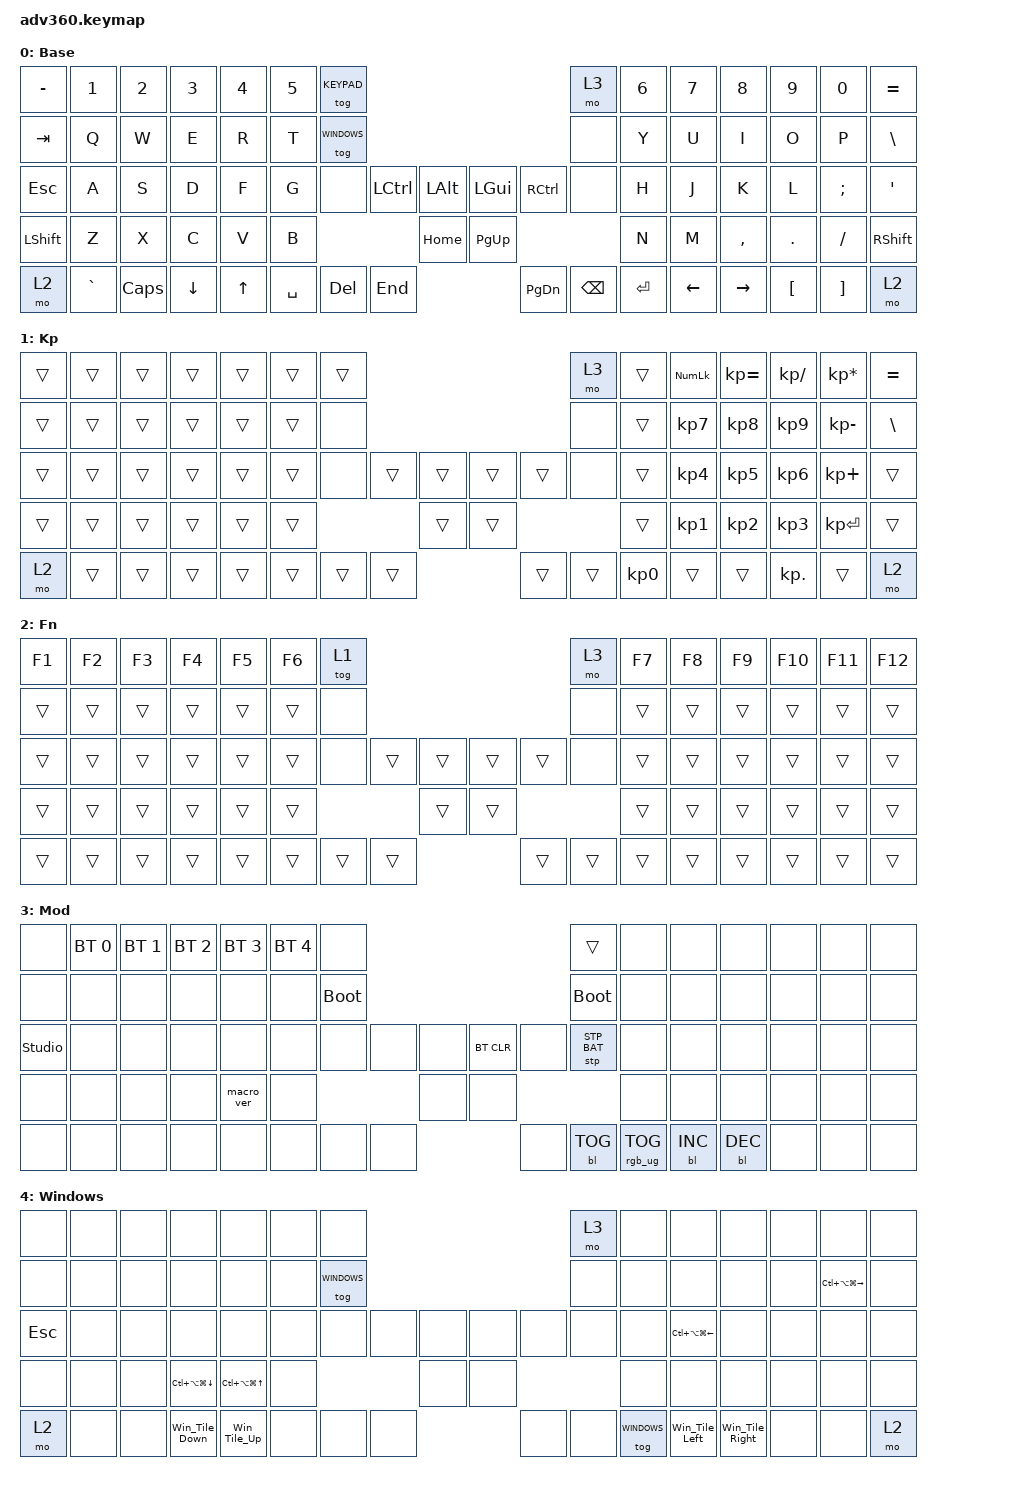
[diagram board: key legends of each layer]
#include <behaviors.dtsi>
#include <dt-bindings/zmk/keys.h>
#include <dt-bindings/zmk/bt.h>
#include <dt-bindings/zmk/rgb.h>
#include <dt-bindings/zmk/stp.h>
#include <dt-bindings/zmk/backlight.h>
#include <dt-bindings/zmk/pointing.h>

#define DEFAULT 0
#define KEYPAD 1
#define FUNCTION 2
#define MOD 3
#define WINDOWS 4
#define ______ &trans

/ {
    behaviors {
      #include "macros.dtsi"
      #include "version.dtsi"

      hm: homerow_mods {
          compatible = "zmk,behavior-hold-tap";
          label = "HOMEROW_MODS";
          #binding-cells = <2>;
          tapping-term-ms = <200>;
          quick_tap_ms = <175>;
          flavor = "tap-preferred";
          bindings = <&kp>, <&kp>;
      };
    };

  keymap {
    compatible = "zmk,keymap";

    default_layer {
      display-name = "Base";
      bindings = <
        &kp MINUS &kp N1    &kp N2   &kp N3   &kp N4     &kp N5 &tog KEYPAD                                                      &mo 3 &kp N6 &kp N7 &kp N8    &kp N9   &kp N0   &kp EQUAL
        &kp TAB   &kp Q     &kp W    &kp E    &kp R      &kp T  &tog WINDOWS                                                     &none &kp Y  &kp U  &kp I     &kp O    &kp P    &kp BSLH
        &kp ESC   &kp A     &kp S    &kp D    &kp F      &kp G  &none           &kp LCTRL &kp LALT &kp LGUI  &kp RCTRL           &none &kp H  &kp J  &kp K     &kp L    &kp SEMI &kp SQT
        &kp LSHFT &kp Z     &kp X    &kp C    &kp V      &kp B                            &kp HOME &kp PG_UP                           &kp N  &kp M  &kp COMMA &kp DOT  &kp FSLH &kp RSHFT
        &mo 2     &kp GRAVE &kp CAPS &kp DOWN &kp UP                &kp SPACE &kp DEL   &kp END  &kp PG_DN &kp BSPC &kp ENTER              &kp LEFT &kp RIGHT  &kp LBKT &kp RBKT &mo 2
      >;
    };
    keypad {
      display-name = "Kp";
      bindings = <
        ______   ______     ______   ______   ______     ______ ______                                                        &mo 3 ______ &kp KP_NUM &kp KP_EQUAL &kp KP_DIVIDE &kp KP_MULTIPLY &kp EQUAL
        ______   ______     ______   ______   ______     ______  &none                                                        &none ______ &kp KP_N7  &kp KP_N8    &kp KP_N9     &kp KP_MINUS    &kp BSLH
        ______   ______     ______   ______   ______     ______  &none           ______ ______ ______  ______                 &none ______ &kp KP_N4  &kp KP_N5    &kp KP_N6     &kp KP_PLUS     ______
        ______   ______     ______   ______   ______     ______                            ______   ______                          ______ &kp KP_N1  &kp KP_N2    &kp KP_N3     &kp KP_ENTER    ______
        &mo 2    ______     ______   ______   ______                ______    ______    ______   ______    ______ &kp KP_N0                ______     ______       &kp KP_DOT    ______          &mo 2
      >;
    };
    fn {
      display-name = "Fn";
      bindings = <
        &kp F1 &kp F2 &kp F3 &kp F4 &kp F5 &kp F6 &tog 1                                           &mo 3 &kp F7 &kp F8 &kp F9 &kp F10 &kp F11 &kp F12
        ______ ______ ______ ______ ______ ______  &none                                           &none ______ ______ ______ ______  ______  ______
        ______ ______ ______ ______ ______ ______  &none        ______ ______ ______ ______        &none ______ ______ ______ ______  ______  ______
        ______ ______ ______ ______ ______ ______                      ______ ______                     ______ ______ ______ ______  ______  ______
        ______ ______ ______ ______ ______               ______ ______ ______ ______ ______ ______              ______ ______ ______  ______  ______
      >;
    };
    mod {
      display-name = "Mod";
      bindings = <
        &none &bt BT_SEL 0 &bt BT_SEL 1 &bt BT_SEL 2 &bt BT_SEL 3 &bt BT_SEL 4 &none                                                                     ______                 &none        &none        &none        &none &none &none
        &none &none        &none        &none        &none        &none        &bootloader                                                               &bootloader            &none        &none        &none        &none &none &none
        &studio_unlock &none        &none        &none        &none        &none        &none                   &none &none &bt BT_CLR &none                      &stp STP_BAT &none        &none        &none        &none &none &none
        &none &none        &none        &none        &macro_ver   &none                                      &none &none                                                        &none        &none        &none        &none &none &none
        &none &none        &none        &none        &none                                       &none &none &none &none      &bl BL_TOG &rgb_ug RGB_TOG                                     &bl BL_INC   &bl BL_DEC   &none &none &none
      >;
    };
    windows {
      display-name = "Windows";
      bindings = <
        &none &none     &none        &none   &none     &none &none                                                           &mo 3 &none &none &none    &none   &none   &none
        &none   &none     &none    &none    &none      &none  &tog WINDOWS                                                     &none &none  &none  &none     &none    &kp LC(LA(LG(RIGHT)))    &none
        &kp ESC   &none     &none    &none    &none      &none  &none           &none &none &none  &none           &none &none  &kp LC(LA(LG(LEFT)))  &none     &none    &none &none
        &none &none &none &kp LC(LA(LG(DOWN))) &kp LC(LA(LG(UP))) &none                   &none &none                           &none  &none  &none &none  &none &none
        &mo 2     &none &none &Win_Tile_Down &Win_Tile_Up                &none &none   &none  &none &none &tog WINDOWS   &Win_Tile_Left &Win_Tile_Right  &none &none &mo 2
      >;
    };
    extra1 { 
      display-name = "Red";    
      status = "reserved";
    };

    extra2 { 
      display-name = "Purple";    
      status = "reserved";
    };

    extra3 { 
      display-name = "Cyan";    
      status = "reserved";
    };

    extra4 { 
      display-name = "Yellow";    
      status = "reserved";
    };
  };
};
